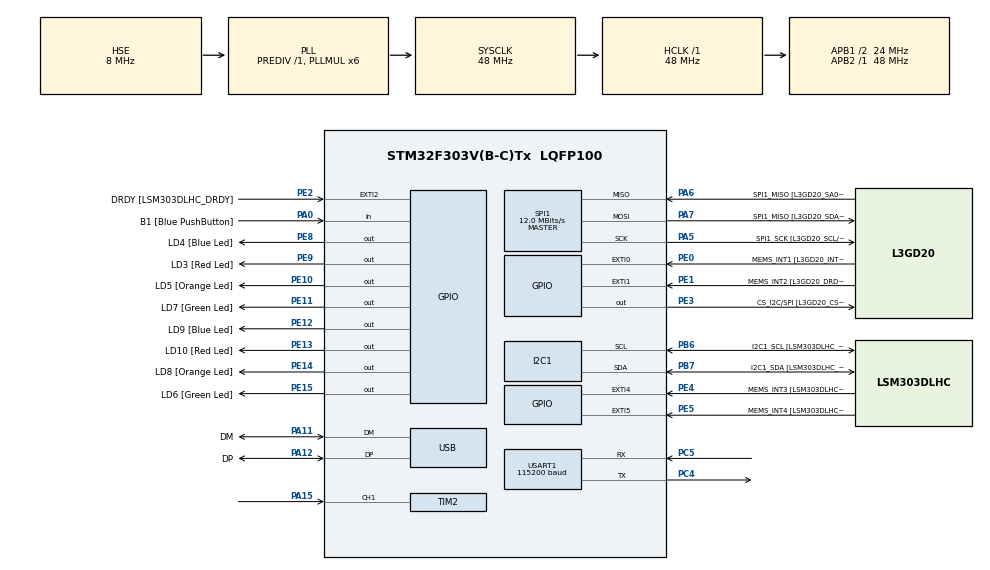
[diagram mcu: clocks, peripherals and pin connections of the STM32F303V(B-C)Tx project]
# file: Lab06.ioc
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I2C1.Timing=0x2000090E
I2C1.Timing-I2C=0x2000090E
Mcu.Family=STM32F3
Mcu.Name=STM32F303V(B-C)Tx
Mcu.Package=LQFP100
NVIC.PriorityGroup=NVIC_PRIORITYGROUP_0
NVIC.TIM2_IRQn=true\:0\:0\:false\:false\:true\:true\:true\:true
NVIC.USB_LP_CAN_RX0_IRQn=true\:0\:0\:false\:false\:true\:false\:true\:true
PA0.GPIO_Label=B1 [Blue PushButton]
PA0.Signal=GPIO_Input
PA11.GPIO_Label=DM
PA11.Mode=Device
PA11.Signal=USB_DM
PA12.GPIO_Label=DP
PA12.Mode=Device
PA12.Signal=USB_DP
PA13.GPIO_Label=SWDIO
PA13.Mode=Serial_Wire
PA13.Signal=SYS_JTMS-SWDIO
PA14.GPIO_Label=SWCLK
PA14.Mode=Serial_Wire
PA14.Signal=SYS_JTCK-SWCLK
PA15.Signal=S_TIM2_CH1_ETR
PA5.GPIO_Label=SPI1_SCK [L3GD20_SCL/SPC]
PA5.Mode=Full_Duplex_Master
PA5.Signal=SPI1_SCK
PA6.GPIO_Label=SPI1_MISO [L3GD20_SA0/SDO]
PA6.Mode=Full_Duplex_Master
PA6.Signal=SPI1_MISO
PA7.GPIO_Label=SPI1_MISO [L3GD20_SDA/SDI/SDO]
PA7.Mode=Full_Duplex_Master
PA7.Signal=SPI1_MOSI
PB3.GPIO_Label=SWO
PB3.Signal=SYS_JTDO-TRACESWO
PB6.GPIO_Label=I2C1_SCL [LSM303DLHC_SCL]
PB6.GPIO_Pu=GPIO_PULLUP
PB6.Mode=I2C
PB6.Signal=I2C1_SCL
PB7.GPIO_Label=I2C1_SDA [LSM303DLHC_SDA]
PB7.GPIO_Pu=GPIO_PULLUP
PB7.Mode=I2C
PB7.Signal=I2C1_SDA
PC14-OSC32_IN.GPIO_Label=OSC32_IN
PC14-OSC32_IN.Signal=RCC_OSC32_IN
PC15-OSC32_OUT.GPIO_Label=OSC32_OUT
PC15-OSC32_OUT.Signal=RCC_OSC32_OUT
PC4.Mode=Asynchronous
PC4.Signal=USART1_TX
PC5.Mode=Asynchronous
PC5.Signal=USART1_RX
PE0.GPIO_Label=MEMS_INT1 [L3GD20_INT1]
PE0.GPIO_ModeDefaultEXTI=GPIO_MODE_EVT_RISING
PE0.Signal=GPXTI0
PE1.GPIO_Label=MEMS_INT2 [L3GD20_DRDY/INT2]
PE1.GPIO_ModeDefaultEXTI=GPIO_MODE_EVT_RISING
PE1.Signal=GPXTI1
PE10.GPIO_Label=LD5 [Orange Led]
PE10.Signal=GPIO_Output
PE11.GPIO_Label=LD7 [Green Led]
PE11.Signal=GPIO_Output
PE12.GPIO_Label=LD9 [Blue Led]
PE12.Signal=GPIO_Output
PE13.GPIO_Label=LD10 [Red Led]
PE13.Signal=GPIO_Output
PE14.GPIO_Label=LD8 [Orange Led]
PE14.Signal=GPIO_Output
PE15.GPIO_Label=LD6 [Green Led]
PE15.Signal=GPIO_Output
PE2.GPIO_Label=DRDY [LSM303DLHC_DRDY]
PE2.GPIO_ModeDefaultEXTI=GPIO_MODE_EVT_RISING
PE2.Signal=GPXTI2
PE3.GPIO_Label=CS_I2C/SPI [L3GD20_CS_I2C/SPI]
PE3.Signal=GPIO_Output
PE4.GPIO_Label=MEMS_INT3 [LSM303DLHC_INT1]
PE4.GPIO_ModeDefaultEXTI=GPIO_MODE_EVT_RISING
PE4.Signal=GPXTI4
PE5.GPIO_Label=MEMS_INT4 [LSM303DLHC_INT2]
PE5.GPIO_ModeDefaultEXTI=GPIO_MODE_EVT_RISING
PE5.Signal=GPXTI5
PE8.GPIO_Label=LD4 [Blue Led]
PE8.Signal=GPIO_Output
PE9.GPIO_Label=LD3 [Red Led]
PE9.Signal=GPIO_Output
PF0-OSC_IN.GPIO_Label=OSC_IN
PF0-OSC_IN.Mode=HSE-External-Clock-Source
PF0-OSC_IN.Signal=RCC_OSC_IN
PF1-OSC_OUT.GPIO_Label=OSC_OUT
PF1-OSC_OUT.Signal=RCC_OSC_OUT
ProjectManager.HeapSize=0x200
ProjectManager.StackSize=0x400
ProjectManager.TargetToolchain=CMake
RCC.AHBFreq_Value=48000000
RCC.APB1CLKDivider=RCC_HCLK_DIV2
RCC.APB1Freq_Value=24000000
RCC.APB1TimFreq_Value=48000000
RCC.APB2Freq_Value=48000000
RCC.APB2TimFreq_Value=48000000
RCC.CortexFreq_Value=48000000
RCC.HCLKFreq_Value=48000000
RCC.HSE_VALUE=8000000
RCC.HSI_VALUE=8000000
RCC.LSE_VALUE=32768
RCC.PLLMUL=RCC_PLL_MUL6
RCC.SYSCLKFreq_VALUE=48000000
RCC.SYSCLKSourceVirtual=RCC_SYSCLKSOURCE_PLLCLK
RCC.USBFreq_Value=48000000
SH.S_TIM2_CH1_ETR.0=TIM2_CH1,Input_Capture1_from_TI1
SPI1.BaudRatePrescaler=SPI_BAUDRATEPRESCALER_4
SPI1.BaudRatePrescaler-Full_Duplex_Master=SPI_BAUDRATEPRESCALER_2
SPI1.CalculateBaudRate=12.0 MBits/s
SPI1.CalculateBaudRate-Full_Duplex_Master=24.0 MBits/s
SPI1.Direction=SPI_DIRECTION_2LINES
SPI1.Mode=SPI_MODE_MASTER
SPI1.Mode-Full_Duplex_Master=SPI_MODE_MASTER
SPI1.VirtualType=VM_MASTER
TIM2.Channel-Input_Capture1_from_TI1=TIM_CHANNEL_1
TIM2.Period=4294967295
TIM2.Prescaler=47
USART1.BaudRate=115200
USART1.VirtualMode-Asynchronous=VM_ASYNC
USB_DEVICE.CLASS_NAME_FS=CDC
USB_DEVICE.VirtualMode=Cdc
USB_DEVICE.VirtualModeFS=Cdc_FS
VP_TIM2_VS_ClockSourceINT.Mode=Internal
VP_USB_DEVICE_VS_USB_DEVICE_CDC_FS.Mode=CDC_FS
board=STM32F3DISCOVERY

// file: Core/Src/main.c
/* USER CODE BEGIN Header */
/**
  ******************************************************************************
  * @file           : main.c
  * @brief          : Main program body
  ******************************************************************************
  * @attention
  *
  * Copyright (c) 2026 STMicroelectronics.
  * All rights reserved.
  *
  * This software is licensed under terms that can be found in the LICENSE file
  * in the root directory of this software component.
  * If no LICENSE file comes with this software, it is provided AS-IS.
  *
  ******************************************************************************
  */
/* USER CODE END Header */
#include "main.h"
#include "usb_device.h"

I2C_HandleTypeDef hi2c1;

SPI_HandleTypeDef hspi1;

TIM_HandleTypeDef htim2;

UART_HandleTypeDef huart1;

/* USER CODE BEGIN PV */

//TASK 1
// #define SAMPLE_SIZE 16
// volatile uint32_t period_array[SAMPLE_SIZE];
// volatile uint8_t array_index = 0;
// volatile bool print_flag = false;

//TASK 2
// uint32_t last_capture = 0;
// uint32_t current_capture = 0;
// uint32_t ic_period = 0;
// uint32_t ic_frequency = 0;

//TASK 3

// uint32_t t_start = 0;
// uint32_t t_end = 0;
// uint32_t captured_ticks = 0;
// float encoder_freq = 0.0f;
// float motor_rpm = 0.0f;
// char uart_buf[100];

// #define PPR 330
// static uint16_t speed_to_ccr(uint8_t speed)
// {
//   return (uint16_t)((speed * 1000)/255);
// }

// TASK 4
volatile uint32_t last_capture = 0;
volatile uint32_t current_capture = 0;
volatile uint32_t captured_ticks = 0;
volatile uint8_t new_capture_flag = 0;
volatile uint8_t first_capture = 1;

float encoder_freq = 0.0f;
float motor_rpm = 0.0f;

char uart_buf[100];
#define PPR 330

/* USER CODE END PV */

void SystemClock_Config(void);
static void MX_GPIO_Init(void);
static void MX_I2C1_Init(void);
static void MX_SPI1_Init(void);
static void MX_TIM2_Init(void);
static void MX_USART1_UART_Init(void);

/* USER CODE BEGIN 0 */

//TASK 1,2
// int _write(int file, char *ptr, int len) {
//   HAL_UART_Transmit(&huart1, (uint8_t *)ptr, len, HAL_MAX_DELAY);
//   return len;
// }

// void HAL_GPIO_EXTI_Callback(uint16_t GPIO_Pin) {
//     if (GPIO_Pin == GPIO_PIN_0) {
//         static uint8_t edge_state = 0;
//         if (edge_state == 0) {

//             __HAL_TIM_SET_COUNTER(&htim2, 0);
//             HAL_TIM_Base_Start(&htim2);
//             edge_state = 1;
//         }
//         else {

//             uint32_t elapsed_ticks = __HAL_TIM_GET_COUNTER(&htim2);
//             HAL_TIM_Base_Stop(&htim2);

//             if (array_index < SAMPLE_SIZE) {
//                 period_array[array_index++] = elapsed_ticks;
//             }

//             if (array_index >= SAMPLE_SIZE) {
//                 print_flag = true;
//                 array_index = 0;
//             }

//             edge_state = 0;
//         }
//     }
// }

/* USER CODE END 0 */

int main(void)
{

  /* MCU Configuration--------------------------------------------------------*/

  /* Reset of all peripherals, Initializes the Flash interface and the Systick. */
  HAL_Init();

  /* Configure the system clock */
  SystemClock_Config();

  /* Initialize all configured peripherals */
  MX_GPIO_Init();
  MX_I2C1_Init();
  MX_SPI1_Init();
  MX_TIM2_Init();
  MX_USART1_UART_Init();
  MX_USB_DEVICE_Init();
  /* USER CODE BEGIN 2 */

  //TASK 2
  // HAL_TIM_IC_Start_IT(&htim2, TIM_CHANNEL_1);

  //TASK 3
  HAL_TIM_Base_Start(&htim2);

  // Start motor PWM channels
  // HAL_TIM_PWM_Start(&htim2, TIM_CHANNEL_1);
  // HAL_TIM_PWM_Start(&htim2, TIM_CHANNEL_2);

  // TASK 4

  HAL_TIM_IC_Start_IT(&htim2, TIM_CHANNEL_1);
  /* USER CODE END 2 */

  /* Infinite loop */
  while (1)
  {

    /* USER CODE BEGIN 3 */

    // TASK 1
    // if (print_flag)
    // {
    //     uint32_t sum = 0;
    //     for (int i = 0; i < SAMPLE_SIZE; i++)
    //     {
    //         sum += period_array[i];
    //     }
    //     uint32_t avg_period = sum / SAMPLE_SIZE;

    //     // Compute frequency using 48 MHz clock base and timer prescaler scaling
    //     float frequency = 4800000.0f / ((float)avg_period);

    //     printf("Avg Ticks: %lu | Frequency: %.2f Hz\r\n", avg_period, frequency);
    //     print_flag = false;
    // }
    // HAL_Delay(120);

    // TASK 2
    // printf("Input Capture Frequency: %lu Hz\r\n", ic_frequency);
    // HAL_Delay(200);

    //TASK 3

    // --- Polling Method using PD8 (External 10k pull-up circuit) ---

  //   while (HAL_GPIO_ReadPin(GPIOD, GPIO_PIN_8) == GPIO_PIN_SET);
  //   t_start = __HAL_TIM_GET_COUNTER(&htim2);

  //   while (HAL_GPIO_ReadPin(GPIOD, GPIO_PIN_8) == GPIO_PIN_RESET);

  //   while (HAL_GPIO_ReadPin(GPIOD, GPIO_PIN_8) == GPIO_PIN_SET);
  //   t_end = __HAL_TIM_GET_COUNTER(&htim2);

  //   if (t_end >= t_start) {
  //       captured_ticks = t_end - t_start;
  //   } else {
  //       captured_ticks = (65535 - t_start) + t_end + 1;
  //   }

  //   if (captured_ticks > 0) {
  //       encoder_freq = 1000000.0f / (float)captured_ticks;
  //   } else {
  //       encoder_freq = 0.0f;
  //   }

  //   motor_rpm = (60.0f * encoder_freq) / (float)PPR;

  //   int len = snprintf(uart_buf, sizeof(uart_buf), "Freq: %.2f Hz | RPM: %.2f\r\n", encoder_freq, motor_rpm);
  //   HAL_UART_Transmit(&huart1, (uint8_t*)uart_buf, len, HAL_MAX_DELAY);

  //   HAL_Delay(100);
  // }

  // TASK 4
  if (new_capture_flag)
    {
        new_capture_flag = 0;

        if (captured_ticks > 0)
        {
            encoder_freq = 1000000.0f / (float)captured_ticks;
            motor_rpm = (60.0f * encoder_freq) / (float)PPR;
        }
        else
        {
            encoder_freq = 0.0f;
            motor_rpm = 0.0f;
        }

        int len = snprintf(uart_buf, sizeof(uart_buf), "Freq: %.2f Hz | RPM: %.2f\r\n", encoder_freq, motor_rpm);
        HAL_UART_Transmit(&huart1, (uint8_t*)uart_buf, len, HAL_MAX_DELAY);
    }

    HAL_Delay(100);
  }

  /* USER CODE END 3 */
}

void SystemClock_Config(void)
{
  RCC_OscInitTypeDef RCC_OscInitStruct = {0};
  RCC_ClkInitTypeDef RCC_ClkInitStruct = {0};
  RCC_PeriphCLKInitTypeDef PeriphClkInit = {0};

  /** Initializes the RCC Oscillators according to the specified parameters
  * in the RCC_OscInitTypeDef structure.
  */
  RCC_OscInitStruct.OscillatorType = RCC_OSCILLATORTYPE_HSI|RCC_OSCILLATORTYPE_HSE;
  RCC_OscInitStruct.HSEState = RCC_HSE_BYPASS;
  RCC_OscInitStruct.HSEPredivValue = RCC_HSE_PREDIV_DIV1;
  RCC_OscInitStruct.HSIState = RCC_HSI_ON;
  RCC_OscInitStruct.HSICalibrationValue = RCC_HSICALIBRATION_DEFAULT;
  RCC_OscInitStruct.PLL.PLLState = RCC_PLL_ON;
  RCC_OscInitStruct.PLL.PLLSource = RCC_PLLSOURCE_HSE;
  RCC_OscInitStruct.PLL.PLLMUL = RCC_PLL_MUL6;
  if (HAL_RCC_OscConfig(&RCC_OscInitStruct) != HAL_OK)
  {
    Error_Handler();
  }

  /** Initializes the CPU, AHB and APB buses clocks
  */
  RCC_ClkInitStruct.ClockType = RCC_CLOCKTYPE_HCLK|RCC_CLOCKTYPE_SYSCLK
                              |RCC_CLOCKTYPE_PCLK1|RCC_CLOCKTYPE_PCLK2;
  RCC_ClkInitStruct.SYSCLKSource = RCC_SYSCLKSOURCE_PLLCLK;
  RCC_ClkInitStruct.AHBCLKDivider = RCC_SYSCLK_DIV1;
  RCC_ClkInitStruct.APB1CLKDivider = RCC_HCLK_DIV2;
  RCC_ClkInitStruct.APB2CLKDivider = RCC_HCLK_DIV1;

  if (HAL_RCC_ClockConfig(&RCC_ClkInitStruct, FLASH_LATENCY_1) != HAL_OK)
  {
    Error_Handler();
  }
  PeriphClkInit.PeriphClockSelection = RCC_PERIPHCLK_USB|RCC_PERIPHCLK_USART1
                              |RCC_PERIPHCLK_I2C1;
  PeriphClkInit.Usart1ClockSelection = RCC_USART1CLKSOURCE_PCLK2;
  PeriphClkInit.I2c1ClockSelection = RCC_I2C1CLKSOURCE_HSI;
  PeriphClkInit.USBClockSelection = RCC_USBCLKSOURCE_PLL;
  if (HAL_RCCEx_PeriphCLKConfig(&PeriphClkInit) != HAL_OK)
  {
    Error_Handler();
  }
}

static void MX_I2C1_Init(void)
{

  hi2c1.Instance = I2C1;
  hi2c1.Init.Timing = 0x2000090E;
  hi2c1.Init.OwnAddress1 = 0;
  hi2c1.Init.AddressingMode = I2C_ADDRESSINGMODE_7BIT;
  hi2c1.Init.DualAddressMode = I2C_DUALADDRESS_DISABLE;
  hi2c1.Init.OwnAddress2 = 0;
  hi2c1.Init.OwnAddress2Masks = I2C_OA2_NOMASK;
  hi2c1.Init.GeneralCallMode = I2C_GENERALCALL_DISABLE;
  hi2c1.Init.NoStretchMode = I2C_NOSTRETCH_DISABLE;
  if (HAL_I2C_Init(&hi2c1) != HAL_OK)
  {
    Error_Handler();
  }

  /** Configure Analogue filter
  */
  if (HAL_I2CEx_ConfigAnalogFilter(&hi2c1, I2C_ANALOGFILTER_ENABLE) != HAL_OK)
  {
    Error_Handler();
  }

  /** Configure Digital filter
  */
  if (HAL_I2CEx_ConfigDigitalFilter(&hi2c1, 0) != HAL_OK)
  {
    Error_Handler();
  }

}

static void MX_SPI1_Init(void)
{

  /* SPI1 parameter configuration*/
  hspi1.Instance = SPI1;
  hspi1.Init.Mode = SPI_MODE_MASTER;
  hspi1.Init.Direction = SPI_DIRECTION_2LINES;
  hspi1.Init.DataSize = SPI_DATASIZE_4BIT;
  hspi1.Init.CLKPolarity = SPI_POLARITY_LOW;
  hspi1.Init.CLKPhase = SPI_PHASE_1EDGE;
  hspi1.Init.NSS = SPI_NSS_SOFT;
  hspi1.Init.BaudRatePrescaler = SPI_BAUDRATEPRESCALER_4;
  hspi1.Init.FirstBit = SPI_FIRSTBIT_MSB;
  hspi1.Init.TIMode = SPI_TIMODE_DISABLE;
  hspi1.Init.CRCCalculation = SPI_CRCCALCULATION_DISABLE;
  hspi1.Init.CRCPolynomial = 7;
  hspi1.Init.CRCLength = SPI_CRC_LENGTH_DATASIZE;
  hspi1.Init.NSSPMode = SPI_NSS_PULSE_ENABLE;
  if (HAL_SPI_Init(&hspi1) != HAL_OK)
  {
    Error_Handler();
  }
}

static void MX_TIM2_Init(void)
{

  TIM_ClockConfigTypeDef sClockSourceConfig = {0};
  TIM_MasterConfigTypeDef sMasterConfig = {0};
  TIM_IC_InitTypeDef sConfigIC = {0};

  htim2.Instance = TIM2;
  htim2.Init.Prescaler = 47;
  htim2.Init.CounterMode = TIM_COUNTERMODE_UP;
  htim2.Init.Period = 4294967295;
  htim2.Init.ClockDivision = TIM_CLOCKDIVISION_DIV1;
  htim2.Init.AutoReloadPreload = TIM_AUTORELOAD_PRELOAD_DISABLE;
  if (HAL_TIM_Base_Init(&htim2) != HAL_OK)
  {
    Error_Handler();
  }
  sClockSourceConfig.ClockSource = TIM_CLOCKSOURCE_INTERNAL;
  if (HAL_TIM_ConfigClockSource(&htim2, &sClockSourceConfig) != HAL_OK)
  {
    Error_Handler();
  }
  if (HAL_TIM_IC_Init(&htim2) != HAL_OK)
  {
    Error_Handler();
  }
  sMasterConfig.MasterOutputTrigger = TIM_TRGO_RESET;
  sMasterConfig.MasterSlaveMode = TIM_MASTERSLAVEMODE_DISABLE;
  if (HAL_TIMEx_MasterConfigSynchronization(&htim2, &sMasterConfig) != HAL_OK)
  {
    Error_Handler();
  }
  sConfigIC.ICPolarity = TIM_INPUTCHANNELPOLARITY_RISING;
  sConfigIC.ICSelection = TIM_ICSELECTION_DIRECTTI;
  sConfigIC.ICPrescaler = TIM_ICPSC_DIV1;
  sConfigIC.ICFilter = 0;
  if (HAL_TIM_IC_ConfigChannel(&htim2, &sConfigIC, TIM_CHANNEL_1) != HAL_OK)
  {
    Error_Handler();
  }

}

static void MX_USART1_UART_Init(void)
{

  huart1.Instance = USART1;
  huart1.Init.BaudRate = 115200;
  huart1.Init.WordLength = UART_WORDLENGTH_8B;
  huart1.Init.StopBits = UART_STOPBITS_1;
  huart1.Init.Parity = UART_PARITY_NONE;
  huart1.Init.Mode = UART_MODE_TX_RX;
  huart1.Init.HwFlowCtl = UART_HWCONTROL_NONE;
  huart1.Init.OverSampling = UART_OVERSAMPLING_16;
  huart1.Init.OneBitSampling = UART_ONE_BIT_SAMPLE_DISABLE;
  huart1.AdvancedInit.AdvFeatureInit = UART_ADVFEATURE_NO_INIT;
  if (HAL_UART_Init(&huart1) != HAL_OK)
  {
    Error_Handler();
  }

}

static void MX_GPIO_Init(void)
{
  GPIO_InitTypeDef GPIO_InitStruct = {0};

  /* GPIO Ports Clock Enable */
  __HAL_RCC_GPIOE_CLK_ENABLE();
  __HAL_RCC_GPIOC_CLK_ENABLE();
  __HAL_RCC_GPIOF_CLK_ENABLE();
  __HAL_RCC_GPIOA_CLK_ENABLE();
  __HAL_RCC_GPIOB_CLK_ENABLE();

  /*Configure GPIO pin Output Level */
  HAL_GPIO_WritePin(GPIOE, CS_I2C_SPI_Pin|LD4_Pin|LD3_Pin|LD5_Pin
                          |LD7_Pin|LD9_Pin|LD10_Pin|LD8_Pin
                          |LD6_Pin, GPIO_PIN_RESET);

  /*Configure GPIO pins : DRDY_Pin MEMS_INT3_Pin MEMS_INT4_Pin MEMS_INT1_Pin
                           MEMS_INT2_Pin */
  GPIO_InitStruct.Pin = DRDY_Pin|MEMS_INT3_Pin|MEMS_INT4_Pin|MEMS_INT1_Pin
                          |MEMS_INT2_Pin;
  GPIO_InitStruct.Mode = GPIO_MODE_EVT_RISING;
  GPIO_InitStruct.Pull = GPIO_NOPULL;
  HAL_GPIO_Init(GPIOE, &GPIO_InitStruct);

  /*Configure GPIO pins : CS_I2C_SPI_Pin LD4_Pin LD3_Pin LD5_Pin
                           LD7_Pin LD9_Pin LD10_Pin LD8_Pin
                           LD6_Pin */
  GPIO_InitStruct.Pin = CS_I2C_SPI_Pin|LD4_Pin|LD3_Pin|LD5_Pin
                          |LD7_Pin|LD9_Pin|LD10_Pin|LD8_Pin
                          |LD6_Pin;
  GPIO_InitStruct.Mode = GPIO_MODE_OUTPUT_PP;
  GPIO_InitStruct.Pull = GPIO_NOPULL;
  GPIO_InitStruct.Speed = GPIO_SPEED_FREQ_LOW;
  HAL_GPIO_Init(GPIOE, &GPIO_InitStruct);

  /*Configure GPIO pin : B1_Pin */
  GPIO_InitStruct.Pin = B1_Pin;
  GPIO_InitStruct.Mode = GPIO_MODE_INPUT;
  GPIO_InitStruct.Pull = GPIO_NOPULL;
  HAL_GPIO_Init(B1_GPIO_Port, &GPIO_InitStruct);

}

/* USER CODE BEGIN 4 */

//TASK 2
/* USER CODE BEGIN 4 */
// void HAL_TIM_IC_CaptureCallback(TIM_HandleTypeDef *htim) {
//     if (htim->Instance == TIM2) {
//         current_capture = HAL_TIM_ReadCapturedValue(htim, TIM_CHANNEL_1);

//         if (current_capture >= last_capture) {
//             ic_period = current_capture - last_capture;
//         } else {
//             ic_period = (65535 - last_capture) + current_capture + 1;
//         }

//         last_capture = current_capture;

//         if (ic_period > 0) {
//             ic_frequency = 1000000 / ic_period;
//         } else {
//             ic_frequency = 0;
//         }
//     }
// }

// task 4
void HAL_TIM_IC_CaptureCallback(TIM_HandleTypeDef *htim)
{
    if (htim->Instance == TIM2 &&
        htim->Channel == HAL_TIM_ACTIVE_CHANNEL_1)
    {
        current_capture = HAL_TIM_ReadCapturedValue(htim, TIM_CHANNEL_1);

        if (first_capture)
        {
            last_capture = current_capture;
            first_capture = 0;
            return;
        }

        if (current_capture >= last_capture)
        {
            captured_ticks = current_capture - last_capture;
        }
        else
        {
            captured_ticks = (0xFFFFFFFFUL - last_capture) + current_capture + 1;
        }

        last_capture = current_capture;
        new_capture_flag = 1;
    }
}

/* USER CODE END 4 */

void Error_Handler(void)
{
  __disable_irq();
  while (1)
  {
  }
}
